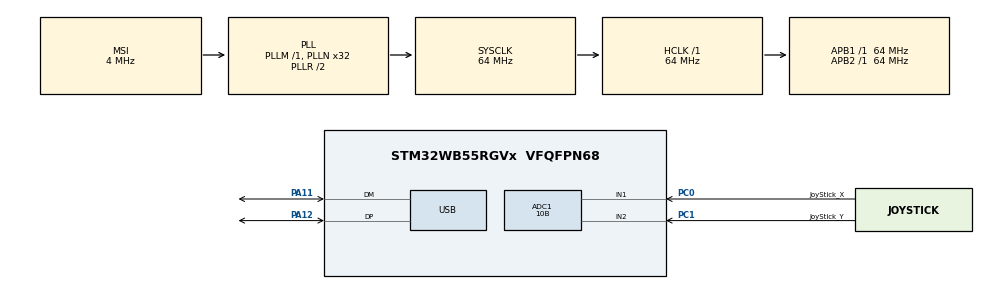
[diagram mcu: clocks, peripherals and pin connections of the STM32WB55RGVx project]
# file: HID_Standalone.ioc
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ADC1.Channel-0\#ChannelRegularConversion=ADC_CHANNEL_1
ADC1.Channel-1\#ChannelRegularConversion=ADC_CHANNEL_2
ADC1.ClockPrescaler=ADC_CLOCK_SYNC_PCLK_DIV4
ADC1.ContinuousConvMode=ENABLE
ADC1.DMAContinuousRequests=DISABLE
ADC1.NbrOfConversion=2
ADC1.NbrOfConversionFlag=1
ADC1.OffsetNumber-0\#ChannelRegularConversion=ADC_OFFSET_NONE
ADC1.OffsetNumber-1\#ChannelRegularConversion=ADC_OFFSET_NONE
ADC1.Rank-0\#ChannelRegularConversion=1
ADC1.Rank-1\#ChannelRegularConversion=2
ADC1.Resolution=ADC_RESOLUTION_10B
ADC1.SamplingTime-0\#ChannelRegularConversion=ADC_SAMPLETIME_12CYCLES_5
ADC1.SamplingTime-1\#ChannelRegularConversion=ADC_SAMPLETIME_12CYCLES_5
ADC1.master=1
Dma.ADC1.0.Direction=DMA_PERIPH_TO_MEMORY
Dma.ADC1.0.EventEnable=DISABLE
Dma.ADC1.0.Instance=DMA1_Channel1
Dma.ADC1.0.MemDataAlignment=DMA_MDATAALIGN_WORD
Dma.ADC1.0.MemInc=DMA_MINC_ENABLE
Dma.ADC1.0.Mode=DMA_NORMAL
Dma.ADC1.0.PeriphDataAlignment=DMA_PDATAALIGN_WORD
Dma.ADC1.0.PeriphInc=DMA_PINC_DISABLE
Dma.ADC1.0.Polarity=HAL_DMAMUX_REQ_GEN_RISING
Dma.ADC1.0.Priority=DMA_PRIORITY_LOW
Dma.ADC1.0.RequestNumber=1
Dma.ADC1.0.SignalID=NONE
Dma.ADC1.0.SyncEnable=DISABLE
Dma.ADC1.0.SyncPolarity=HAL_DMAMUX_SYNC_NO_EVENT
Dma.ADC1.0.SyncRequestNumber=1
Dma.ADC1.0.SyncSignalID=NONE
Dma.Request0=ADC1
Mcu.Family=STM32WB
Mcu.Name=STM32WB55RGVx
Mcu.Package=VFQFPN68
NVIC.DMA1_Channel1_IRQn=true\:0\:0\:false\:false\:true\:false\:true\:true
NVIC.PriorityGroup=NVIC_PRIORITYGROUP_4
NVIC.USB_LP_IRQn=true\:6\:0\:true\:false\:true\:true\:true\:true
PA11.GPIO_Speed=GPIO_SPEED_FREQ_VERY_HIGH
PA11.Mode=Device
PA11.Signal=USB_DM
PA12.GPIO_Speed=GPIO_SPEED_FREQ_VERY_HIGH
PA12.Mode=Device
PA12.Signal=USB_DP
PC0.GPIO_Label=JoyStick_X
PC0.Signal=ADCx_IN1
PC1.GPIO_Label=JoyStick_Y
PC1.Signal=ADCx_IN2
ProjectManager.HeapSize=0x1000
ProjectManager.StackSize=0x1000
ProjectManager.TargetToolchain=STM32CubeIDE
RCC.ADCFreq_Value=16000000
RCC.AHB2CLKDivider=RCC_SYSCLK_DIV2
RCC.AHBFreq_Value=64000000
RCC.APB1Freq_Value=64000000
RCC.APB1TimFreq_Value=64000000
RCC.APB2Freq_Value=64000000
RCC.APB2TimFreq_Value=64000000
RCC.APB3Freq_Value=16000000
RCC.CodegenConfigPeriph=false
RCC.CortexFreq_Value=64000000
RCC.HCLKFreq_Value=64000000
RCC.HSE_VALUE=8000000
RCC.HSI48_VALUE=48000000
RCC.HSI_VALUE=16000000
RCC.LSE_VALUE=32768
RCC.MSI_VALUE=4000000
RCC.PLLN=32
RCC.PLLP=RCC_PLLP_DIV5
RCC.PLLQ=RCC_PLLQ_DIV4
RCC.SYSCLKFreq_VALUE=64000000
RCC.SYSCLKSource=RCC_SYSCLKSOURCE_PLLCLK
RCC.USBFreq_Value=16000000
RCC.VCOOutputFreq_Value=128000000
SH.ADCx_IN1.0=ADC1_IN1,IN1-Single-Ended
SH.ADCx_IN2.0=ADC1_IN2,IN2-Single-Ended
USB.DeviceSpeed=PCD_SPEED_FULL
USB.Sof_enable=DISABLE
USB.battery_charging_enable=DISABLE
USB.low_power_enable=DISABLE
USB.lpm_enable=DISABLE
USB.phy_itface=PCD_PHY_EMBEDDED
USB_DEVICE.CLASS_NAME_FS=HID
USB_DEVICE.CONFIGURATION_STRING_HID_FS=HID Config
USB_DEVICE.HID_FS_BINTERVAL=0xA
USB_DEVICE.INTERFACE_STRING_HID_FS=HID Interface
USB_DEVICE.LANGID_STRING=1033
USB_DEVICE.MANUFACTURER_STRING=STMicroelectronics
USB_DEVICE.PID_HID_FS=0x5710
USB_DEVICE.PRODUCT_STRING_HID_FS=STM32 Human interface
USB_DEVICE.USBD_DEBUG_LEVEL=0
USB_DEVICE.USBD_LPM_ENABLED=0
USB_DEVICE.USBD_MAX_NUM_CONFIGURATION=1
USB_DEVICE.USBD_MAX_NUM_INTERFACES=1
USB_DEVICE.USBD_MAX_STR_DESC_SIZ=64
USB_DEVICE.USBD_SELF_POWERED=1
USB_DEVICE.VID=0x483
USB_DEVICE.VirtualMode=Hid
USB_DEVICE.VirtualModeFS=Hid_FS
VP_MEMORYMAP_VS_MEMORYMAP.Mode=CurAppReg
VP_USB_DEVICE_VS_USB_DEVICE_HID_FS.Mode=HID_FS
board=P-NUCLEO-WB55-NUCLEO

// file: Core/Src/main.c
/* USER CODE BEGIN Header */
/**
  ******************************************************************************
  * @file    USB_Device/HID_Standalone/Core/Src/main.c
  * @author  MCD Application Team
  * @brief   USB device HID demo main file
  ******************************************************************************
  * @attention
  *
  * Copyright (c) 2019-2021 STMicroelectronics.
  * All rights reserved.
  *
  * This software is licensed under terms that can be found in the LICENSE file
  * in the root directory of this software component.
  * If no LICENSE file comes with this software, it is provided AS-IS.
  *
  ******************************************************************************
  */
/* USER CODE END Header */
#include "main.h"
#include "usb_device.h"

/* USER CODE BEGIN Includes */
#include "usbd_core.h"
#include "usbd_desc.h"
#include "usbd_hid.h"
/* USER CODE END Includes */

/* USER CODE BEGIN PD */
#define ADC_SCAN_RATE	100
/* USER CODE END PD */

ADC_HandleTypeDef hadc1;
DMA_HandleTypeDef hdma_adc1;

/* USER CODE BEGIN PV */
uint8_t flagDir;
uint16_t joystick_X, joystick_Y;
uint32_t rawADC[4];
uint32_t adc_lastTime = 0;
/* USER CODE END PV */

void SystemClock_Config(void);
static void MX_GPIO_Init(void);
static void MX_DMA_Init(void);
static void MX_ADC1_Init(void);

/* USER CODE BEGIN 0 */

/**
 * @brief ADC DMA callback when buffer is full
 * @param:
 * 		hadc	ADC Peripheral
 * @retval None
**/
void HAL_ADC_ConvCpltCallback(ADC_HandleTypeDef *hadc)
{
	joystick_X = rawADC[0];
	joystick_Y = rawADC[1];
}
/* USER CODE END 0 */

int main(void)
{

  /* MCU Configuration--------------------------------------------------------*/

  /* Reset of all peripherals, Initializes the Flash interface and the Systick. */
  HAL_Init();

  /* Configure the system clock */
  SystemClock_Config();

  /* Initialize all configured peripherals */
  MX_GPIO_Init();
  MX_DMA_Init();
  MX_USB_Device_Init();
  MX_ADC1_Init();
  /* USER CODE BEGIN 2 */
  /* Configure the application hardware resources */
  BSP_PB_Init(BUTTON_KEY1, BUTTON_MODE_EXTI);
  BSP_LED_Init(LED3);
  HAL_ADC_Start_DMA(&hadc1, rawADC, 4);
  /* USER CODE END 2 */

  /* Infinite loop */
  /* USER CODE BEGIN WHILE */
  while (1)
  {
	  if(HAL_GetTick() - adc_lastTime > ADC_SCAN_RATE){
		  adc_lastTime = HAL_GetTick();
		  flagDir = JOYSTICK_IDLE;
		  HAL_ADC_Start_DMA(&hadc1, rawADC, 4);
	  }

	  // Detect user input and control the mouse
	  JoystickControl();
	  HAL_Delay(10);
    /* USER CODE END WHILE */

  }
}

void SystemClock_Config(void)
{
  RCC_OscInitTypeDef RCC_OscInitStruct = {0};
  RCC_ClkInitTypeDef RCC_ClkInitStruct = {0};

  /** Configure the main internal regulator output voltage
  */
  __HAL_PWR_VOLTAGESCALING_CONFIG(PWR_REGULATOR_VOLTAGE_SCALE1);

  /** Initializes the RCC Oscillators according to the specified parameters
  * in the RCC_OscInitTypeDef structure.
  */
  RCC_OscInitStruct.OscillatorType = RCC_OSCILLATORTYPE_MSI;
  RCC_OscInitStruct.MSIState = RCC_MSI_ON;
  RCC_OscInitStruct.MSICalibrationValue = RCC_MSICALIBRATION_DEFAULT;
  RCC_OscInitStruct.MSIClockRange = RCC_MSIRANGE_6;
  RCC_OscInitStruct.PLL.PLLState = RCC_PLL_ON;
  RCC_OscInitStruct.PLL.PLLSource = RCC_PLLSOURCE_MSI;
  RCC_OscInitStruct.PLL.PLLM = RCC_PLLM_DIV1;
  RCC_OscInitStruct.PLL.PLLN = 32;
  RCC_OscInitStruct.PLL.PLLP = RCC_PLLP_DIV5;
  RCC_OscInitStruct.PLL.PLLR = RCC_PLLR_DIV2;
  RCC_OscInitStruct.PLL.PLLQ = RCC_PLLQ_DIV4;
  if (HAL_RCC_OscConfig(&RCC_OscInitStruct) != HAL_OK)
  {
    Error_Handler();
  }

  /** Configure the SYSCLKSource, HCLK, PCLK1 and PCLK2 clocks dividers
  */
  RCC_ClkInitStruct.ClockType = RCC_CLOCKTYPE_HCLK4|RCC_CLOCKTYPE_HCLK2
                              |RCC_CLOCKTYPE_HCLK|RCC_CLOCKTYPE_SYSCLK
                              |RCC_CLOCKTYPE_PCLK1|RCC_CLOCKTYPE_PCLK2;
  RCC_ClkInitStruct.SYSCLKSource = RCC_SYSCLKSOURCE_PLLCLK;
  RCC_ClkInitStruct.AHBCLKDivider = RCC_SYSCLK_DIV1;
  RCC_ClkInitStruct.APB1CLKDivider = RCC_HCLK_DIV1;
  RCC_ClkInitStruct.APB2CLKDivider = RCC_HCLK_DIV1;
  RCC_ClkInitStruct.AHBCLK2Divider = RCC_SYSCLK_DIV2;
  RCC_ClkInitStruct.AHBCLK4Divider = RCC_SYSCLK_DIV1;

  if (HAL_RCC_ClockConfig(&RCC_ClkInitStruct, FLASH_LATENCY_3) != HAL_OK)
  {
    Error_Handler();
  }

  /** Enable MSI Auto calibration
  */
  HAL_RCCEx_EnableMSIPLLMode();
}

static void MX_ADC1_Init(void)
{

  ADC_ChannelConfTypeDef sConfig = {0};

  /** Common config
  */
  hadc1.Instance = ADC1;
  hadc1.Init.ClockPrescaler = ADC_CLOCK_SYNC_PCLK_DIV4;
  hadc1.Init.Resolution = ADC_RESOLUTION_10B;
  hadc1.Init.DataAlign = ADC_DATAALIGN_RIGHT;
  hadc1.Init.ScanConvMode = ADC_SCAN_ENABLE;
  hadc1.Init.EOCSelection = ADC_EOC_SINGLE_CONV;
  hadc1.Init.LowPowerAutoWait = DISABLE;
  hadc1.Init.ContinuousConvMode = ENABLE;
  hadc1.Init.NbrOfConversion = 2;
  hadc1.Init.DiscontinuousConvMode = DISABLE;
  hadc1.Init.ExternalTrigConv = ADC_SOFTWARE_START;
  hadc1.Init.ExternalTrigConvEdge = ADC_EXTERNALTRIGCONVEDGE_NONE;
  hadc1.Init.DMAContinuousRequests = DISABLE;
  hadc1.Init.Overrun = ADC_OVR_DATA_PRESERVED;
  hadc1.Init.OversamplingMode = DISABLE;
  if (HAL_ADC_Init(&hadc1) != HAL_OK)
  {
    Error_Handler();
  }

  /** Configure Regular Channel
  */
  sConfig.Channel = ADC_CHANNEL_1;
  sConfig.Rank = ADC_REGULAR_RANK_1;
  sConfig.SamplingTime = ADC_SAMPLETIME_12CYCLES_5;
  sConfig.SingleDiff = ADC_SINGLE_ENDED;
  sConfig.OffsetNumber = ADC_OFFSET_NONE;
  sConfig.Offset = 0;
  if (HAL_ADC_ConfigChannel(&hadc1, &sConfig) != HAL_OK)
  {
    Error_Handler();
  }

  /** Configure Regular Channel
  */
  sConfig.Channel = ADC_CHANNEL_2;
  sConfig.Rank = ADC_REGULAR_RANK_2;
  if (HAL_ADC_ConfigChannel(&hadc1, &sConfig) != HAL_OK)
  {
    Error_Handler();
  }

}

static void MX_DMA_Init(void)
{

  /* DMA controller clock enable */
  __HAL_RCC_DMAMUX1_CLK_ENABLE();
  __HAL_RCC_DMA1_CLK_ENABLE();

  /* DMA interrupt init */
  /* DMA1_Channel1_IRQn interrupt configuration */
  HAL_NVIC_SetPriority(DMA1_Channel1_IRQn, 0, 0);
  HAL_NVIC_EnableIRQ(DMA1_Channel1_IRQn);

}

static void MX_GPIO_Init(void)
{

  /* GPIO Ports Clock Enable */
  __HAL_RCC_GPIOC_CLK_ENABLE();
  __HAL_RCC_GPIOA_CLK_ENABLE();

}

/* USER CODE BEGIN 4 */
/**
  * @brief This function provides accurate delay (in milliseconds) based
  * on SysTick counter flag.
  * @note This function is declared as __weak to be overwritten in case of other
  * implementations in user file.
  * @param Delay: specifies the delay time length, in milliseconds.
  * @retval None
  */
void HAL_Delay(__IO uint32_t Delay)
{
  while (Delay)
  {
    if (SysTick->CTRL & SysTick_CTRL_COUNTFLAG_Msk)
    {
      Delay--;
    }
  }
}
/* USER CODE END 4 */

void Error_Handler(void)
{
  /* USER CODE BEGIN Error_Handler_Debug */
  BSP_LED_On(LED3);
  while (1)
  {
  }
  /* USER CODE END Error_Handler_Debug */
}
